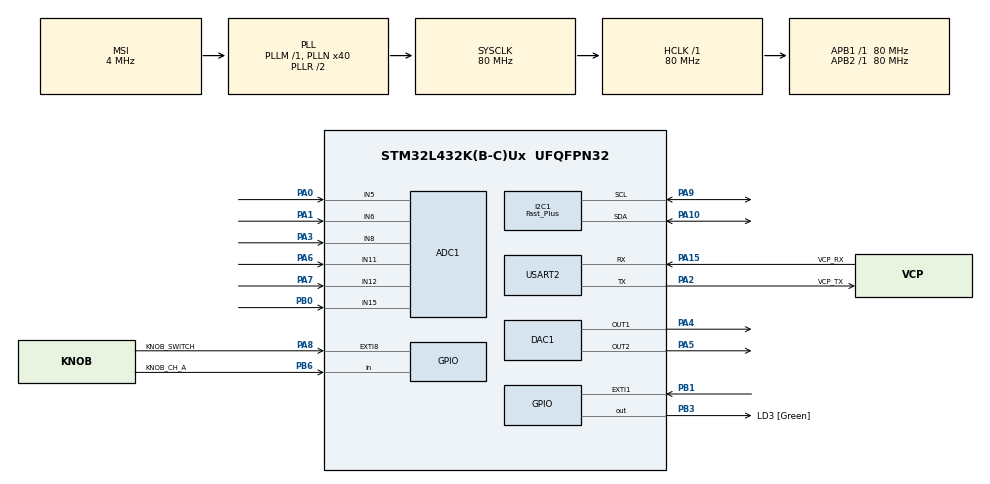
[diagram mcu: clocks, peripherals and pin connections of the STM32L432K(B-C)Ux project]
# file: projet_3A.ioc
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ADC1.Channel-0\#ChannelRegularConversion=ADC_CHANNEL_8
ADC1.Channel-1\#ChannelRegularConversion=ADC_CHANNEL_5
ADC1.Channel-2\#ChannelRegularConversion=ADC_CHANNEL_6
ADC1.Channel-3\#ChannelRegularConversion=ADC_CHANNEL_11
ADC1.Channel-4\#ChannelRegularConversion=ADC_CHANNEL_12
ADC1.Channel-5\#ChannelRegularConversion=ADC_CHANNEL_15
ADC1.ClockPrescaler=ADC_CLOCK_ASYNC_DIV1
ADC1.ContinuousConvMode=DISABLE
ADC1.DMAContinuousRequests=ENABLE
ADC1.EOCSelection=ADC_EOC_SEQ_CONV
ADC1.ExternalTrigConv=ADC_EXTERNALTRIG_T2_TRGO
ADC1.NbrOfConversion=6
ADC1.NbrOfConversionFlag=1
ADC1.OffsetNumber-0\#ChannelRegularConversion=ADC_OFFSET_NONE
ADC1.OffsetNumber-1\#ChannelRegularConversion=ADC_OFFSET_NONE
ADC1.OffsetNumber-2\#ChannelRegularConversion=ADC_OFFSET_NONE
ADC1.OffsetNumber-3\#ChannelRegularConversion=ADC_OFFSET_NONE
ADC1.OffsetNumber-4\#ChannelRegularConversion=ADC_OFFSET_NONE
ADC1.OffsetNumber-5\#ChannelRegularConversion=ADC_OFFSET_NONE
ADC1.Rank-0\#ChannelRegularConversion=1
ADC1.Rank-1\#ChannelRegularConversion=2
ADC1.Rank-2\#ChannelRegularConversion=3
ADC1.Rank-3\#ChannelRegularConversion=4
ADC1.Rank-4\#ChannelRegularConversion=5
ADC1.Rank-5\#ChannelRegularConversion=6
ADC1.SamplingTime-0\#ChannelRegularConversion=ADC_SAMPLETIME_12CYCLES_5
ADC1.SamplingTime-1\#ChannelRegularConversion=ADC_SAMPLETIME_12CYCLES_5
ADC1.SamplingTime-2\#ChannelRegularConversion=ADC_SAMPLETIME_12CYCLES_5
ADC1.SamplingTime-3\#ChannelRegularConversion=ADC_SAMPLETIME_2CYCLES_5
ADC1.SamplingTime-4\#ChannelRegularConversion=ADC_SAMPLETIME_12CYCLES_5
ADC1.SamplingTime-5\#ChannelRegularConversion=ADC_SAMPLETIME_12CYCLES_5
ADC1.master=1
DAC1.DAC_Channel-DAC_OUT2=DAC_CHANNEL_2
DAC1.DAC_Trigger-DAC_OUT1=DAC_TRIGGER_T2_TRGO
DAC1.DAC_Trigger-DAC_OUT2=DAC_TRIGGER_T2_TRGO
Dma.ADC1.0.Direction=DMA_PERIPH_TO_MEMORY
Dma.ADC1.0.Instance=DMA1_Channel1
Dma.ADC1.0.MemDataAlignment=DMA_MDATAALIGN_HALFWORD
Dma.ADC1.0.MemInc=DMA_MINC_ENABLE
Dma.ADC1.0.Mode=DMA_CIRCULAR
Dma.ADC1.0.PeriphDataAlignment=DMA_PDATAALIGN_HALFWORD
Dma.ADC1.0.PeriphInc=DMA_PINC_DISABLE
Dma.ADC1.0.Priority=DMA_PRIORITY_HIGH
Dma.DAC_CH1.1.Direction=DMA_MEMORY_TO_PERIPH
Dma.DAC_CH1.1.Instance=DMA1_Channel3
Dma.DAC_CH1.1.MemDataAlignment=DMA_MDATAALIGN_HALFWORD
Dma.DAC_CH1.1.MemInc=DMA_MINC_ENABLE
Dma.DAC_CH1.1.Mode=DMA_CIRCULAR
Dma.DAC_CH1.1.PeriphDataAlignment=DMA_PDATAALIGN_HALFWORD
Dma.DAC_CH1.1.PeriphInc=DMA_PINC_DISABLE
Dma.DAC_CH1.1.Priority=DMA_PRIORITY_HIGH
Dma.DAC_CH2.2.Direction=DMA_MEMORY_TO_PERIPH
Dma.DAC_CH2.2.Instance=DMA1_Channel4
Dma.DAC_CH2.2.MemDataAlignment=DMA_MDATAALIGN_HALFWORD
Dma.DAC_CH2.2.MemInc=DMA_MINC_ENABLE
Dma.DAC_CH2.2.Mode=DMA_CIRCULAR
Dma.DAC_CH2.2.PeriphDataAlignment=DMA_PDATAALIGN_HALFWORD
Dma.DAC_CH2.2.PeriphInc=DMA_PINC_DISABLE
Dma.DAC_CH2.2.Priority=DMA_PRIORITY_HIGH
Dma.I2C1_TX.3.Direction=DMA_MEMORY_TO_PERIPH
Dma.I2C1_TX.3.Instance=DMA1_Channel6
Dma.I2C1_TX.3.MemDataAlignment=DMA_MDATAALIGN_BYTE
Dma.I2C1_TX.3.MemInc=DMA_MINC_ENABLE
Dma.I2C1_TX.3.Mode=DMA_NORMAL
Dma.I2C1_TX.3.PeriphDataAlignment=DMA_PDATAALIGN_BYTE
Dma.I2C1_TX.3.PeriphInc=DMA_PINC_DISABLE
Dma.I2C1_TX.3.Priority=DMA_PRIORITY_MEDIUM
Dma.Request0=ADC1
Dma.Request1=DAC_CH1
Dma.Request2=DAC_CH2
Dma.Request3=I2C1_TX
I2C1.I2C_Speed_Mode=I2C_Fast_Plus
I2C1.Timing=0x00300F33
Mcu.Family=STM32L4
Mcu.Name=STM32L432K(B-C)Ux
Mcu.Package=UFQFPN32
NVIC.DMA1_Channel1_IRQn=true\:0\:0\:false\:false\:true\:false\:true
NVIC.DMA1_Channel3_IRQn=true\:0\:0\:false\:false\:true\:false\:true
NVIC.DMA1_Channel4_IRQn=true\:0\:0\:false\:false\:true\:false\:true
NVIC.DMA1_Channel6_IRQn=true\:0\:0\:false\:false\:true\:false\:true
NVIC.EXTI1_IRQn=true\:0\:0\:false\:false\:true\:true\:true
NVIC.EXTI9_5_IRQn=true\:1\:0\:true\:false\:true\:true\:true
NVIC.I2C1_EV_IRQn=true\:0\:0\:false\:false\:true\:true\:true
NVIC.PriorityGroup=NVIC_PRIORITYGROUP_4
PA0.Signal=ADCx_IN5
PA1.Signal=ADCx_IN6
PA10.Mode=I2C
PA10.Signal=I2C1_SDA
PA13\ (JTMS-SWDIO).GPIO_Label=SWDIO
PA13\ (JTMS-SWDIO).Mode=Serial_Wire
PA13\ (JTMS-SWDIO).Signal=SYS_JTMS-SWDIO
PA14\ (JTCK-SWCLK).GPIO_Label=SWCLK
PA14\ (JTCK-SWCLK).Mode=Serial_Wire
PA14\ (JTCK-SWCLK).Signal=SYS_JTCK-SWCLK
PA15\ (JTDI).GPIO_Label=VCP_RX
PA15\ (JTDI).Mode=Asynchronous
PA15\ (JTDI).Signal=USART2_RX
PA2.GPIO_Label=VCP_TX
PA2.Mode=Asynchronous
PA2.Signal=USART2_TX
PA3.Signal=ADCx_IN8
PA4.Signal=COMP_DAC11_group
PA5.Signal=COMP_DAC12_group
PA6.Signal=ADCx_IN11
PA7.Signal=ADCx_IN12
PA8.GPIO_Label=KNOB_SWITCH
PA8.Signal=GPXTI8
PA9.Mode=I2C
PA9.Signal=I2C1_SCL
PB0.Signal=ADCx_IN15
PB1.GPIO_ModeDefaultEXTI=GPIO_MODE_IT_FALLING
PB1.Signal=GPXTI1
PB3\ (JTDO-TRACESWO).GPIO_Label=LD3 [Green]
PB3\ (JTDO-TRACESWO).Signal=GPIO_Output
PB6.GPIO_Label=KNOB_CH_A
PB6.GPIO_PuPd=GPIO_PULLUP
PB6.Signal=GPIO_Input
PC14-OSC32_IN\ (PC14).Mode=LSE-External-Oscillator
PC14-OSC32_IN\ (PC14).Signal=RCC_OSC32_IN
PC15-OSC32_OUT\ (PC15).Mode=LSE-External-Oscillator
PC15-OSC32_OUT\ (PC15).Signal=RCC_OSC32_OUT
ProjectManager.HeapSize=0x200
ProjectManager.StackSize=0x400
ProjectManager.TargetToolchain=STM32CubeIDE
RCC.ADCFreq_Value=32000000
RCC.AHBFreq_Value=80000000
RCC.APB1Freq_Value=80000000
RCC.APB1TimFreq_Value=80000000
RCC.APB2Freq_Value=80000000
RCC.APB2TimFreq_Value=80000000
RCC.CortexFreq_Value=80000000
RCC.HCLKFreq_Value=80000000
RCC.HSE_VALUE=8000000
RCC.HSI16_VALUE=16000000
RCC.HSI48_VALUE=48000000
RCC.HSI_VALUE=16000000
RCC.MSI_VALUE=4000000
RCC.PLLMUL=RCC_PLLMUL_4
RCC.PLLN=40
RCC.PLLSAI1N=16
RCC.SYSCLKFreq_VALUE=80000000
RCC.SYSCLKSource=RCC_SYSCLKSOURCE_PLLCLK
RCC.USBFreq_Value=32000000
RCC.VCOOutputFreq_Value=160000000
SH.ADCx_IN11.0=ADC1_IN11,IN11-Single-Ended
SH.ADCx_IN12.0=ADC1_IN12,IN12-Single-Ended
SH.ADCx_IN15.0=ADC1_IN15,IN15-Single-Ended
SH.ADCx_IN5.0=ADC1_IN5,IN5-Single-Ended
SH.ADCx_IN6.0=ADC1_IN6,IN6-Single-Ended
SH.ADCx_IN8.0=ADC1_IN8,IN8-Single-Ended
SH.COMP_DAC11_group.0=DAC1_OUT1,DAC_OUT1
SH.COMP_DAC12_group.0=DAC1_OUT2,DAC_OUT2
TIM2.Period=1817
TIM2.TIM_MasterOutputTrigger=TIM_TRGO_UPDATE
USART2.VirtualMode-Asynchronous=VM_ASYNC
VP_TIM2_VS_ClockSourceINT.Mode=Internal
board=NUCLEO-L432KC

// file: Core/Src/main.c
/* USER CODE BEGIN Header */
/**
  ******************************************************************************
  * @file           : main.c
  * @brief          : Main program body
  ******************************************************************************
  * @attention
  *
  * <h2><center>&copy; Copyright (c) 2020 STMicroelectronics.
  * All rights reserved.</center></h2>
  *
  * This software component is licensed by ST under BSD 3-Clause license,
  * the "License"; You may not use this file except in compliance with the
  * License. You may obtain a copy of the License at:
  *                        opensource.org/licenses/BSD-3-Clause
  *
  ******************************************************************************
  */
/* USER CODE END Header */
#include "main.h"
#include "adc.h"
#include "dac.h"
#include "dma.h"
#include "i2c.h"
#include "tim.h"
#include "usart.h"
#include "gpio.h"

/* USER CODE BEGIN Includes */
#include <stdio.h>
#include <stdlib.h>
#include "dsp.h"
#include "menu.h"
/* USER CODE END Includes */

/* USER CODE BEGIN PV */

uint8_t note_index = 0;
uint8_t start_dsp = 0;

float x = 0;
float y = 0;

/* USER CODE END PV */

void SystemClock_Config(void);

int main(void)
{

  /* MCU Configuration--------------------------------------------------------*/

  /* Reset of all peripherals, Initializes the Flash interface and the Systick. */
  HAL_Init();

  /* Configure the system clock */
  SystemClock_Config();

  /* Initialize all configured peripherals */
  MX_GPIO_Init();
  MX_DMA_Init();
  MX_USART2_UART_Init();
  MX_I2C1_Init();
  MX_ADC1_Init();
  MX_DAC1_Init();
  MX_TIM2_Init();
  /* USER CODE BEGIN 2 */

  dsp_init();
  changePitch(note_index);

	if(init_menu()){
		printf(" <-- Eurorack --> \r\n");
	}else{
		printf(" PB with LCD \r\n");
	}

	set_home_menu();

  /* USER CODE END 2 */

  /* Infinite loop */
  while (1)
  {

    /* USER CODE BEGIN 3 */
	  //printf("%ld %ld %ld\r\n", value[0],value[1],value[2]);

		  /*for (int i=0; i!= 512;i++){
			  printf("%u\r\n", adc_buffer[6*i+1]);
		  }*/
	  if(start_dsp){
		  start_dsp = 0;
		  processDSP();
	  }

	  __NOP();

  }
  /* USER CODE END 3 */
}

void SystemClock_Config(void)
{
  RCC_OscInitTypeDef RCC_OscInitStruct = {0};
  RCC_ClkInitTypeDef RCC_ClkInitStruct = {0};
  RCC_PeriphCLKInitTypeDef PeriphClkInit = {0};

  /** Configure LSE Drive Capability
  */
  HAL_PWR_EnableBkUpAccess();
  __HAL_RCC_LSEDRIVE_CONFIG(RCC_LSEDRIVE_LOW);
  /** Initializes the RCC Oscillators according to the specified parameters
  * in the RCC_OscInitTypeDef structure.
  */
  RCC_OscInitStruct.OscillatorType = RCC_OSCILLATORTYPE_LSE|RCC_OSCILLATORTYPE_MSI;
  RCC_OscInitStruct.LSEState = RCC_LSE_ON;
  RCC_OscInitStruct.MSIState = RCC_MSI_ON;
  RCC_OscInitStruct.MSICalibrationValue = 0;
  RCC_OscInitStruct.MSIClockRange = RCC_MSIRANGE_6;
  RCC_OscInitStruct.PLL.PLLState = RCC_PLL_ON;
  RCC_OscInitStruct.PLL.PLLSource = RCC_PLLSOURCE_MSI;
  RCC_OscInitStruct.PLL.PLLM = 1;
  RCC_OscInitStruct.PLL.PLLN = 40;
  RCC_OscInitStruct.PLL.PLLP = RCC_PLLP_DIV7;
  RCC_OscInitStruct.PLL.PLLQ = RCC_PLLQ_DIV2;
  RCC_OscInitStruct.PLL.PLLR = RCC_PLLR_DIV2;
  if (HAL_RCC_OscConfig(&RCC_OscInitStruct) != HAL_OK)
  {
    Error_Handler();
  }
  /** Initializes the CPU, AHB and APB buses clocks
  */
  RCC_ClkInitStruct.ClockType = RCC_CLOCKTYPE_HCLK|RCC_CLOCKTYPE_SYSCLK
                              |RCC_CLOCKTYPE_PCLK1|RCC_CLOCKTYPE_PCLK2;
  RCC_ClkInitStruct.SYSCLKSource = RCC_SYSCLKSOURCE_PLLCLK;
  RCC_ClkInitStruct.AHBCLKDivider = RCC_SYSCLK_DIV1;
  RCC_ClkInitStruct.APB1CLKDivider = RCC_HCLK_DIV1;
  RCC_ClkInitStruct.APB2CLKDivider = RCC_HCLK_DIV1;

  if (HAL_RCC_ClockConfig(&RCC_ClkInitStruct, FLASH_LATENCY_4) != HAL_OK)
  {
    Error_Handler();
  }
  PeriphClkInit.PeriphClockSelection = RCC_PERIPHCLK_USART2|RCC_PERIPHCLK_I2C1
                              |RCC_PERIPHCLK_ADC;
  PeriphClkInit.Usart2ClockSelection = RCC_USART2CLKSOURCE_PCLK1;
  PeriphClkInit.I2c1ClockSelection = RCC_I2C1CLKSOURCE_PCLK1;
  PeriphClkInit.AdcClockSelection = RCC_ADCCLKSOURCE_PLLSAI1;
  PeriphClkInit.PLLSAI1.PLLSAI1Source = RCC_PLLSOURCE_MSI;
  PeriphClkInit.PLLSAI1.PLLSAI1M = 1;
  PeriphClkInit.PLLSAI1.PLLSAI1N = 16;
  PeriphClkInit.PLLSAI1.PLLSAI1P = RCC_PLLP_DIV7;
  PeriphClkInit.PLLSAI1.PLLSAI1Q = RCC_PLLQ_DIV2;
  PeriphClkInit.PLLSAI1.PLLSAI1R = RCC_PLLR_DIV2;
  PeriphClkInit.PLLSAI1.PLLSAI1ClockOut = RCC_PLLSAI1_ADC1CLK;
  if (HAL_RCCEx_PeriphCLKConfig(&PeriphClkInit) != HAL_OK)
  {
    Error_Handler();
  }
  /** Configure the main internal regulator output voltage
  */
  if (HAL_PWREx_ControlVoltageScaling(PWR_REGULATOR_VOLTAGE_SCALE1) != HAL_OK)
  {
    Error_Handler();
  }
  /** Enable MSI Auto calibration
  */
  HAL_RCCEx_EnableMSIPLLMode();
}

/* USER CODE BEGIN 4 */

void HAL_I2C_MasterTxCpltCallback(I2C_HandleTypeDef* hi2c){
	__NOP();
}

void HAL_I2C_MasterRxCpltCallback(I2C_HandleTypeDef* hi2c){
	__NOP();
}

void HAL_I2C_ErrorCallback(I2C_HandleTypeDef* hi2c){
	__NOP();
}

void HAL_GPIO_EXTI_Callback(uint16_t GPIO_Pin){
	//Pour le switch
	if(GPIO_Pin == KNOB_SWITCH_Pin){
		//On a appuyé sur le bouton
		set_menu_SWITCH_EVENT();

	}else{
		__NOP();
	}
	//Pour gérer la roue codeuse
	if(GPIO_Pin == GPIO_PIN_1){
		//Gestion de l'interruption
		if(HAL_GPIO_ReadPin(KNOB_CH_A_GPIO_Port, KNOB_CH_A_Pin)){
			set_menu_KNOB_EVENT_HIGH();
		}else{
			set_menu_KNOB_EVENT_LOW();
		}
	}
}

/* USER CODE END 4 */

void Error_Handler(void)
{
  __disable_irq();
  while (1)
  {
  }
}

/************************ (C) COPYRIGHT STMicroelectronics *****END OF FILE****/
